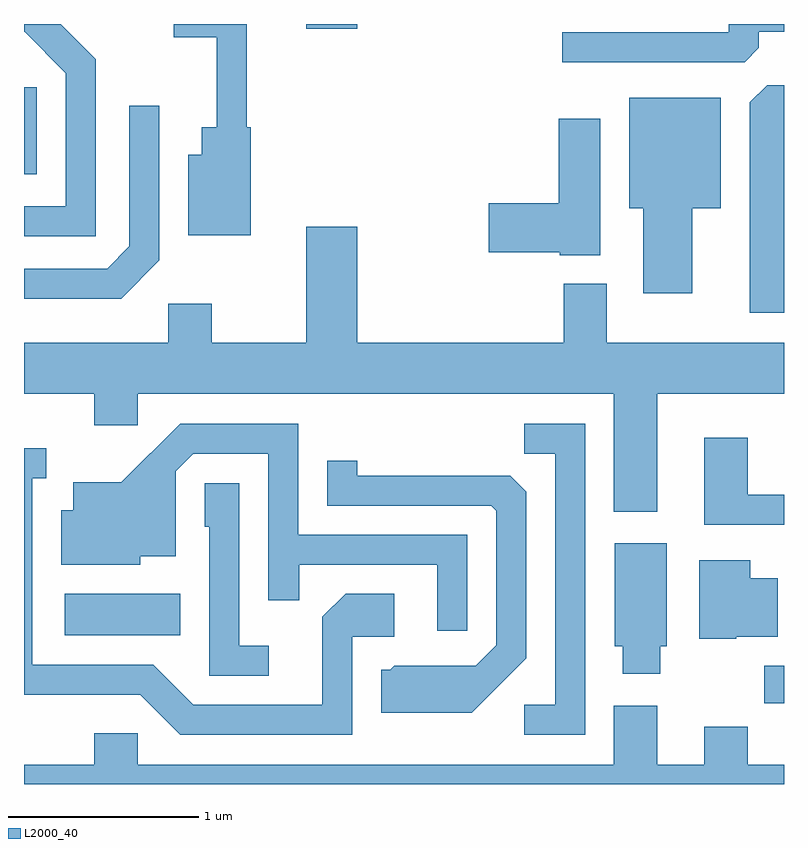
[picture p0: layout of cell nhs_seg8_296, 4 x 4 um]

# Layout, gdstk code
import gdstk
lib = gdstk.Library(unit=1e-6, precision=1e-09)
def R(c, l, rs):  # rectangles x0, y0, x1, y1
    for r in rs: c.add(gdstk.rectangle(r[:2], r[2:], *l))
def P(c, l, *ps):  # polygons
    for p in ps: c.add(gdstk.Polygon(p, *l))
L2000_40 = (2000, 40)

nhs_seg8_296 = lib.new_cell('nhs_seg8_296')
R(nhs_seg8_296, L2000_40, [(197.506,1854.766,197.611,1854.964), (193.826,1855.126,194.434,1855.344), (193.611,1857.551,193.679,1858.009), (195.096,1858.316,195.364,1858.342)])
P(nhs_seg8_296, L2000_40, [(193.989,1858.157),(193.804,1858.342),(193.611,1858.342),(193.611,1858.301),(193.614,1858.301),(193.831,1858.084),(193.831,1857.384),(193.611,1857.384),(193.611,1857.226),(193.989,1857.226)],
  [(197.479,1858.217),(197.479,1858.301),(197.611,1858.301),(197.611,1858.342),(197.321,1858.342),(197.321,1858.299),(196.443,1858.299),(196.443,1858.141),(197.404,1858.141)],
  [(194.804,1857.799),(194.784,1857.799),(194.784,1858.342),(194.398,1858.342),(194.398,1858.271),(194.626,1858.271),(194.626,1857.799),(194.546,1857.799),(194.546,1857.654),(194.476,1857.654),(194.476,1857.231),(194.804,1857.231)],
  [(197.611,1858.019),(197.522,1858.019),(197.431,1857.929),(197.431,1856.821),(197.611,1856.821)],
  [(197.129,1857.371),(197.279,1857.371),(197.279,1857.954),(196.796,1857.954),(196.796,1857.371),(196.871,1857.371),(196.871,1856.926),(197.129,1856.926)],
  [(194.324,1857.099),(194.324,1857.913),(194.166,1857.913),(194.166,1857.172),(194.049,1857.054),(193.611,1857.054),(193.611,1856.896),(194.122,1856.896)],
  [(196.644,1857.844),(196.426,1857.844),(196.426,1857.399),(196.056,1857.399),(196.056,1857.141),(196.43,1857.141),(196.43,1857.126),(196.644,1857.126)],
  [(196.944,1856.396),(197.611,1856.396),(197.611,1856.664),(196.679,1856.664),(196.679,1856.974),(196.451,1856.974),(196.451,1856.664),(195.364,1856.664),(195.364,1857.274),(195.096,1857.274),(195.096,1856.664),(194.599,1856.664),(194.599,1856.869),(194.371,1856.869),(194.371,1856.664),(193.611,1856.664),(193.611,1856.396),(193.981,1856.396),(193.981,1856.231),(194.209,1856.231),(194.209,1856.396),(196.716,1856.396),(196.716,1855.776),(196.944,1855.776)],
  [(196.564,1856.239),(196.243,1856.239),(196.243,1856.081),(196.406,1856.081),(196.406,1854.759),(196.243,1854.759),(196.243,1854.601),(196.564,1854.601)],
  [(195.944,1855.654),(195.054,1855.654),(195.054,1856.239),(194.434,1856.239),(194.124,1855.929),(193.871,1855.929),(193.871,1855.784),(193.806,1855.784),(193.806,1855.496),(194.224,1855.496),(194.224,1855.541),(194.409,1855.541),(194.409,1855.989),(194.502,1856.081),(194.896,1856.081),(194.896,1855.308),(195.059,1855.308),(195.059,1855.496),(195.786,1855.496),(195.786,1855.148),(195.944,1855.148)],
  [(197.611,1855.864),(197.419,1855.864),(197.419,1856.164),(197.191,1856.164),(197.191,1855.706),(197.611,1855.706)],
  [(195.339,1855.116),(195.559,1855.116),(195.559,1855.344),(195.304,1855.344),(195.181,1855.222),(195.181,1854.759),(194.502,1854.759),(194.292,1854.969),(193.654,1854.969),(193.654,1855.951),(193.728,1855.951),(193.728,1856.109),(193.611,1856.109),(193.611,1854.811),(194.224,1854.811),(194.434,1854.601),(195.339,1854.601)],
  [(196.254,1855.004),(196.254,1855.879),(196.169,1855.964),(195.364,1855.964),(195.364,1856.043),(195.206,1856.043),(195.206,1855.806),(196.069,1855.806),(196.096,1855.779),(196.096,1855.072),(195.989,1854.964),(195.559,1854.964),(195.539,1854.944),(195.491,1854.944),(195.491,1854.716),(195.967,1854.716)],
  [(194.898,1855.069),(194.744,1855.069),(194.744,1855.924),(194.561,1855.924),(194.561,1855.696),(194.586,1855.696),(194.586,1854.911),(194.898,1854.911)],
  [(196.959,1855.066),(196.994,1855.066),(196.994,1855.609),(196.721,1855.609),(196.721,1855.066),(196.761,1855.066),(196.761,1854.921),(196.959,1854.921)],
  [(197.36,1855.116),(197.579,1855.116),(197.579,1855.424),(197.434,1855.424),(197.434,1855.519),(197.166,1855.519),(197.166,1855.106),(197.36,1855.106)],
  [(197.611,1854.444),(197.419,1854.444),(197.419,1854.644),(197.191,1854.644),(197.191,1854.444),(196.944,1854.444),(196.944,1854.754),(196.716,1854.754),(196.716,1854.444),(194.209,1854.444),(194.209,1854.609),(193.981,1854.609),(193.981,1854.444),(193.611,1854.444),(193.611,1854.342),(197.611,1854.342)])

lib.write_gds('nhs_seg8_296.gds')
